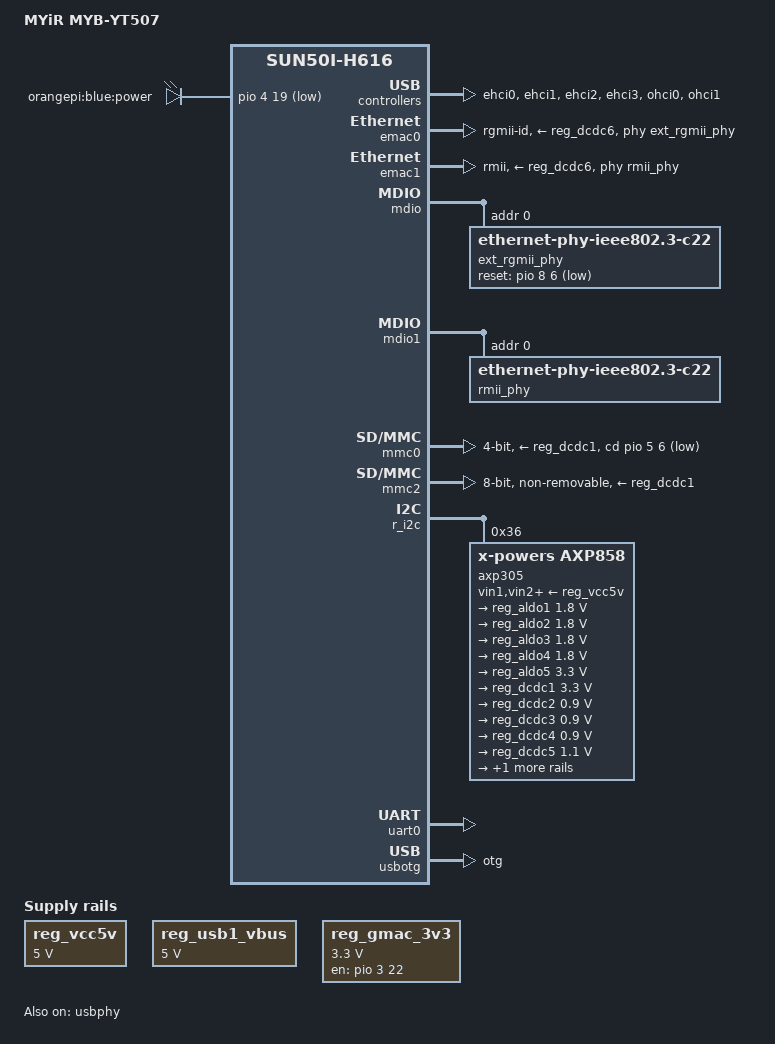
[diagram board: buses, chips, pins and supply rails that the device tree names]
// SPDX-License-Identifier: (GPL-2.0+ or MIT)
/*
 * Copyright (C) 2020 Arm Ltd.
 */

/dts-v1/;

#include "sun50i-h616.dtsi"

#include <dt-bindings/gpio/gpio.h>
#include <dt-bindings/interrupt-controller/arm-gic.h>

/ {
	model = "MYiR MYB-YT507";
	compatible = "xunlong,orangepi-zero2", "allwinner,sun50i-h616";

	aliases {
		ethernet0 = &emac0;
		ethernet1 = &emac1;
		serial0 = &uart0;
	};

	chosen {
		stdout-path = "serial0:115200n8";
	};

	leds {
		compatible = "gpio-leds";

		power {
			label = "orangepi:blue:power";
			gpios = <&pio 4 19 GPIO_ACTIVE_LOW>; /* PE19 */
			default-state = "on";
		};
	};

	reg_vcc5v: vcc5v {
		/* board wide 5V supply directly from the USB-C socket */
		compatible = "regulator-fixed";
		regulator-name = "vcc-5v";
		regulator-min-microvolt = <5000000>;
		regulator-max-microvolt = <5000000>;
		regulator-always-on;
	};

	reg_usb1_vbus: usb1-vbus {
		compatible = "regulator-fixed";
		regulator-name = "usb1-vbus";
		regulator-min-microvolt = <5000000>;
		regulator-max-microvolt = <5000000>;
		regulator-always-on;
	};

	reg_gmac_3v3: gmac-3v3 {
		compatible = "regulator-fixed";
		regulator-name = "gmac-3v3";
		regulator-min-microvolt = <3300000>;
		regulator-max-microvolt = <3300000>;
		//startup-delay-us = <100000>;
		enable-active-high;
		gpio = <&pio 3 22 GPIO_ACTIVE_HIGH>;
		regulator-always-on;
	};
};

&ehci0 {
	status = "okay";
};

&ehci1 {
	status = "okay";
};

&ehci2 {
	status = "okay";
};

&ehci3 {
	status = "okay";
};

&pio {
	vcc-pa-supply = <&reg_dcdc1>;
	vcc-pc-supply = <&reg_aldo1>;
	vcc-pd-supply = <&reg_aldo1>; // Don't know why
	vcc-pe-supply = <&reg_aldo5>;
	vcc-pf-supply = <&reg_dcdc1>;
	vcc-pg-supply = <&reg_dcdc1>;
	vcc-ph-supply = <&reg_dcdc1>;
	vcc-pi-supply = <&reg_dcdc6>;
	/*	
	rgmii_phy_reset_pin: rgmii-phy-reset-pin {
		pins = "PI6";
		function = "gpio_out";
	};
	rmii_phy_reset_pin: rmii-phy-reset-pin {
		pins = "PH5";
		function = "gpio_out";
	};
	*/
};

&emac0 {
	pinctrl-names = "default";
	pinctrl-0 = <&ext_rgmii_pins>;
	phy-mode = "rgmii-id";
	phy-handle = <&ext_rgmii_phy>;
	phy-supply = <&reg_dcdc6>,<&reg_gmac_3v3>;
	allwinner,rx-delay-ps = <3100>;
	allwinner,tx-delay-ps = <700>;
	status = "okay";
};

&emac1 {
	pinctrl-names = "default";
	pinctrl-0 = <&rmii_pins>;
	phy-mode = "rmii";
	phy-handle = <&rmii_phy>;
	phy-supply = <&reg_dcdc6>;
	allwinner,rx-delay-ps = <0>;
	allwinner,tx-delay-ps = <700>;
	//phy-reset-gpios = <&pio 7 5 GPIO_ACTIVE_HIGH>; // PH5
	//phy-reset-duration = <200>;
	//phy-reset-post-delay = <40>;
	status = "okay";
};

&mdio {
	ext_rgmii_phy: ethernet-phy@0 {
		compatible = "ethernet-phy-ieee802.3-c22";
		reg = <0>;
		reset-gpios = <&pio 8 6 GPIO_ACTIVE_LOW>; // PI6
		reset-assert-us = <100000>;
		reset-deassert-us = <40000>;
		
	};
};

&mdio1 {
	/*
	reset-gpios = <&pio 7 5 GPIO_ACTIVE_HIGH>; // PH5
	reset-assert-us = <50000>;
	reset-deassert-us = <1000>;
	*/
	rmii_phy: ethernet-phy@0 {
		//clocks = <&ccu CLK_EMAC_25M>;
		//reset-gpios = <&pio 7 5 GPIO_ACTIVE_HIGH>; // PH5
		//reset-assert-us = <100000>;
		//reset-deassert-us = <40000>;
		compatible = "ethernet-phy-ieee802.3-c22";
		reg = <0>;
	};
};

&mmc0 {
	vmmc-supply = <&reg_dcdc1>;
	cd-gpios = <&pio 5 6 GPIO_ACTIVE_LOW>;	/* PF6 */
	bus-width = <4>;
	status = "okay";
};

&mmc2 {
	vmmc-supply = <&reg_dcdc1>;
	vqmmc-supply = <&reg_aldo1>;
	broken-cd;
	bus-width = <8>;
	non-removable;
	cap-mmc-highspeed;
	max-frequency = <50000000>;
	mmc-ddr-1_8v;
	mmc-hs200-1_8v;
	status = "okay";
};

&ohci0 {
	status = "okay";
};

&ohci1 {
	status = "okay";
};


&r_i2c {
	status = "okay";

	axp305: pmic@36 {
		compatible = "x-powers,axp858";
		reg = <0x36>;

		/* dummy interrupt to appease the driver for now */
		interrupts = <GIC_SPI 103 IRQ_TYPE_LEVEL_HIGH>;
		interrupt-controller;
		#interrupt-cells = <1>;

		x-powers,self-working-mode;
		vin1-supply = <&reg_vcc5v>;
		vin2-supply = <&reg_vcc5v>;
		vin3-supply = <&reg_vcc5v>;
		vin4-supply = <&reg_vcc5v>;
		vin5-supply = <&reg_vcc5v>;
		vin6-supply = <&reg_vcc5v>;
		aldoin-supply = <&reg_vcc5v>;
		bldoin-supply = <&reg_vcc5v>;
		cldoin-supply = <&reg_vcc5v>;

		regulators {
			reg_aldo1: aldo1 {
				regulator-always-on;
				regulator-min-microvolt = <1800000>;
				regulator-max-microvolt = <1800000>;
				regulator-name = "vcc-aldo1";
			};

			reg_aldo2: aldo2 {
				regulator-always-on;
				regulator-min-microvolt = <1800000>;
				regulator-max-microvolt = <1800000>;
				regulator-name = "vcc-aldo2";
			};

			reg_aldo3: aldo3 {
				regulator-always-on;
				regulator-min-microvolt = <1800000>;
				regulator-max-microvolt = <1800000>;
				regulator-name = "vcc-aldo3";
			};

			reg_aldo4: aldo4 {
				regulator-always-on;
				regulator-min-microvolt = <1800000>;
				regulator-max-microvolt = <1800000>;
				regulator-name = "vcc-aldo4";
			};

			reg_aldo5: aldo5 {
				regulator-always-on;
				regulator-min-microvolt = <3300000>;
				regulator-max-microvolt = <3300000>;
				regulator-name = "vcc-aldo5";
			};

			bldo1 {
				/* unused */
			};

			bldo2 {
				/* unused */
			};

			bldo3 {
				/* unused */
			};

			bldo4 {
				/* unused */
			};

			cldo1 {
				/* reserved */
			};

			cldo2 {
				/* unused */
			};

			cldo3 {
				/* unused */
			};

			reg_dcdc1: dcdc1 {
				regulator-always-on;
				regulator-min-microvolt = <3300000>;
				regulator-max-microvolt = <3300000>;
				regulator-name = "vdd-dcdc1";
			};

			reg_dcdc2: dcdc2 {
				regulator-always-on;
				regulator-min-microvolt = <900000>;
				regulator-max-microvolt = <900000>;
				regulator-name = "vdd-cpu";
			};

			reg_dcdc3: dcdc3 {
				regulator-always-on;
				regulator-min-microvolt = <900000>;
				regulator-max-microvolt = <900000>;
				regulator-name = "vdd-dcdc3";
			};

			reg_dcdc4: dcdc4 {
				regulator-always-on;
				regulator-min-microvolt = <900000>;
				regulator-max-microvolt = <900000>;
				regulator-name = "vdd-gpu";
			};

			reg_dcdc5: dcdc5 {
				regulator-always-on;
				regulator-min-microvolt = <1100000>;
				regulator-max-microvolt = <1100000>;
				regulator-name = "vdd-dram";
			};

			reg_dcdc6: dcdc6 {
				regulator-always-on;
				regulator-min-microvolt = <3300000>;
				regulator-max-microvolt = <3300000>;
				regulator-name = "vdd-dcdc6";
			};

			sw {
				/* unused */
			};
		};
	};
};

&uart0 {
	pinctrl-names = "default";
	pinctrl-0 = <&uart0_ph_pins>;
	status = "okay";
};

&usbotg {
	dr_mode = "otg";
	status = "okay";
};

&usbphy {
	usb0_vbus-supply = <&reg_vcc5v>;
	usb1_vbus-supply = <&reg_usb1_vbus>;
	status = "okay";
};
 
